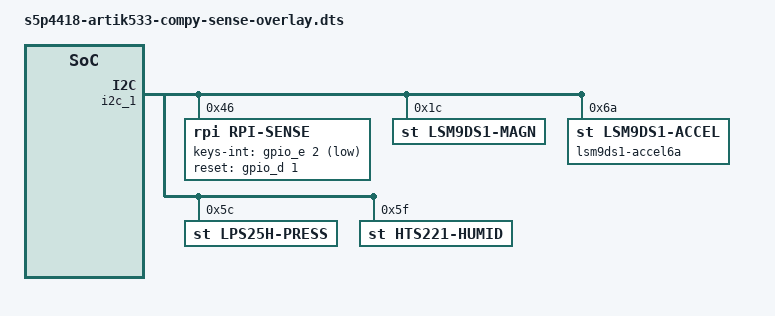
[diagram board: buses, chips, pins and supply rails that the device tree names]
/* Support Sense Hat */

/dts-v1/;
/plugin/;

/ {
	compatible = "samsung,artik530-compy";

	fragment@0 {
		target = <&i2c_1>;
		__overlay__ {
			status = "okay";
			#address-cells = <1>;
			#size-cells = <0>;

			rpi-sense@46 {
				compatible = "rpi,rpi-sense";
				reg = <0x46>;
				keys-int-gpios = <&gpio_e 2 1>;
				reset-gpios = <&gpio_d 1 0>;
				status = "okay";
			};

			lsm9ds1-magn@1c {
				compatible = "st,lsm9ds1-magn";
				reg = <0x1c>;
				status = "okay";
			};

			lsm9ds1-accel6a {
				compatible = "st,lsm9ds1-accel";
				reg = <0x6a>;
				status = "okay";
			};

			lps25h-press@5c {
				compatible = "st,lps25h-press";
				reg = <0x5c>;
				status = "okay";
			};

			hts221-humid@5f {
				compatible = "st,hts221-humid";
				reg = <0x5f>;
				status = "okay";
			};
		};
	};
};
